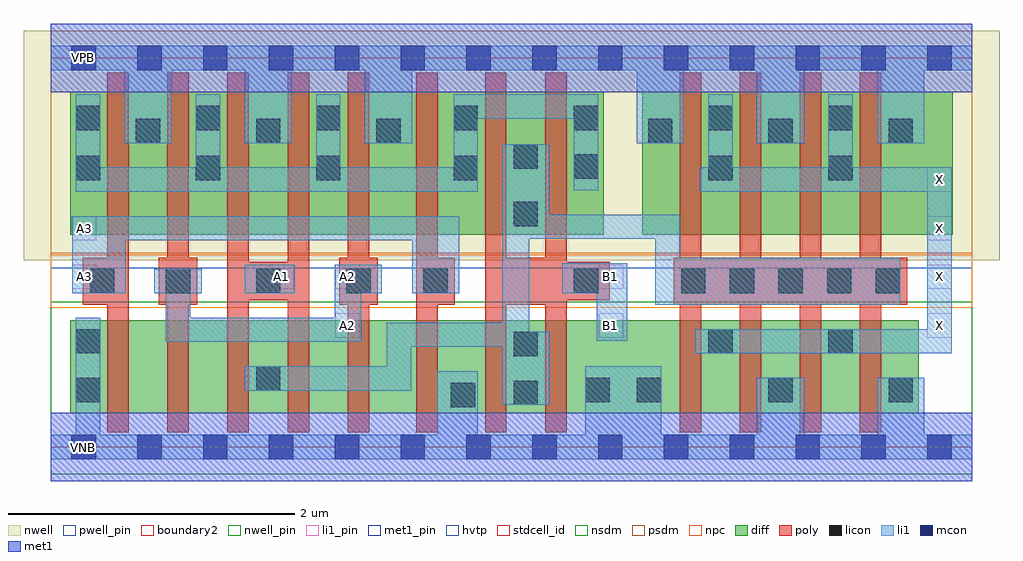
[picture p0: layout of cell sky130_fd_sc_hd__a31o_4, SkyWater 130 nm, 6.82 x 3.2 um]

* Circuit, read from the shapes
.subckt sky130_fd_sc_hd__a31o_4 A1 A2 A3 B1 VGND VNB VPB VPWR X
XM1 n1 A3 VGND VNB sky130_fd_pr__nfet_01v8 w=0.65 l=0.15
XM2 n2 A2 n1 VNB sky130_fd_pr__nfet_01v8 w=0.65 l=0.15
XM3 n3 A1 n2 VNB sky130_fd_pr__nfet_01v8 w=0.65 l=0.15
XM4 n4 A1 n3 VNB sky130_fd_pr__nfet_01v8 w=0.65 l=0.15
XM5 n5 A2 n4 VNB sky130_fd_pr__nfet_01v8 w=0.65 l=0.15
XM6 VGND A3 n5 VNB sky130_fd_pr__nfet_01v8 w=0.65 l=0.15
XM7 n3 B1 VGND VNB sky130_fd_pr__nfet_01v8 w=0.65 l=0.15 m=2
XM8 X n3 VGND VNB sky130_fd_pr__nfet_01v8 w=0.65 l=0.15 m=4
XM9 VPWR A3 n6 VPB sky130_fd_pr__pfet_01v8_hvt w=1 l=0.15 m=2
XM10 n6 A2 VPWR VPB sky130_fd_pr__pfet_01v8_hvt w=1 l=0.15 m=2
XM11 VPWR A1 n6 VPB sky130_fd_pr__pfet_01v8_hvt w=1 l=0.15 m=2
XM12 n3 B1 n6 VPB sky130_fd_pr__pfet_01v8_hvt w=1 l=0.15 m=2
XM13 X n3 VPWR VPB sky130_fd_pr__pfet_01v8_hvt w=1 l=0.15 m=4
.ends

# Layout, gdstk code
import gdstk
lib = gdstk.Library(unit=1e-6, precision=1e-09)
def R(c, l, rs):  # rectangles x0, y0, x1, y1
    for r in rs: c.add(gdstk.rectangle(r[:2], r[2:], *l))
def A(c, l, x, y, w, h, nx, ny, dx, dy):  # array of equal rectangles
    R(c, l, [(x+i*dx, y+j*dy, x+i*dx+w, y+j*dy+h) for i in range(nx) for j in range(ny)])
def P(c, l, *ps):  # polygons
    for p in ps: c.add(gdstk.Polygon(p, *l))
nwell_pin = (64, 16)
nwell = (64, 20)
diff = (65, 20)
poly = (66, 20)
licon = (66, 44)
li1_pin = (67, 16)
li1 = (67, 20)
mcon = (67, 44)
met1_pin = (68, 16)
met1 = (68, 20)
hvtp = (78, 44)
stdcell_id = (81, 4)
nsdm = (93, 44)
psdm = (94, 20)
npc = (95, 20)
pwell_pin = (122, 16)
boundary2 = (236, 0)

sky130_fd_sc_hd__a31o_4 = lib.new_cell('sky130_fd_sc_hd__a31o_4')
R(sky130_fd_sc_hd__a31o_4, nwell_pin, [(0.15,2.635,0.32,2.805)])
R(sky130_fd_sc_hd__a31o_4, nwell, [(-0.19,1.305,6.63,2.91)])
R(sky130_fd_sc_hd__a31o_4, diff, [(0.135,0.235,6.065,0.885), (0.135,1.485,3.865,2.485), (4.135,1.485,6.305,2.485)])
P(sky130_fd_sc_hd__a31o_4, poly, [(0.395,0.105),(0.395,0.995),(0.225,0.995),(0.225,1.325),(0.395,1.325),(0.395,2.615),(0.545,2.615),(0.545,0.105)],
  [(4.395,0.105),(4.395,0.995),(4.355,0.995),(4.355,1.325),(4.395,1.325),(4.395,2.615),(4.545,2.615),(4.545,1.325),(4.815,1.325),(4.815,2.615),(4.965,2.615),(4.965,1.325),(5.235,1.325),(5.235,2.615),(5.385,2.615),(5.385,1.325),(5.655,1.325),(5.655,2.615),(5.805,2.615),(5.805,1.325),(5.985,1.325),(5.985,0.995),(5.805,0.995),(5.805,0.105),(5.655,0.105),(5.655,0.995),(5.385,0.995),(5.385,0.105),(5.235,0.105),(5.235,0.995),(4.965,0.995),(4.965,0.105),(4.815,0.105),(4.815,0.995),(4.545,0.995),(4.545,0.105)],
  [(3.035,0.105),(3.035,2.615),(3.185,2.615),(3.185,1.325),(3.455,1.325),(3.455,2.615),(3.605,2.615),(3.605,1.295),(3.905,1.295),(3.905,1.025),(3.605,1.025),(3.605,0.105),(3.455,0.105),(3.455,0.995),(3.185,0.995),(3.185,0.105)],
  [(2.555,0.105),(2.555,2.615),(2.705,2.615),(2.705,1.325),(2.825,1.325),(2.825,0.995),(2.705,0.995),(2.705,0.105)],
  [(2.075,0.105),(2.075,0.995),(2.015,0.995),(2.015,1.325),(2.075,1.325),(2.075,2.615),(2.225,2.615),(2.225,1.325),(2.285,1.325),(2.285,0.995),(2.225,0.995),(2.225,0.105)],
  [(1.235,0.105),(1.235,2.615),(1.385,2.615),(1.385,1.295),(1.655,1.295),(1.655,2.615),(1.805,2.615),(1.805,0.105),(1.655,0.105),(1.655,1.025),(1.385,1.025),(1.385,0.105)],
  [(0.815,0.105),(0.815,0.995),(0.755,0.995),(0.755,1.325),(0.815,1.325),(0.815,2.615),(0.965,2.615),(0.965,1.325),(1.025,1.325),(1.025,0.995),(0.965,0.995),(0.965,0.105)])
A(sky130_fd_sc_hd__a31o_4, licon, 0.805, 1.075, 0.17, 0.17, 3, 1, 0.63, 0)
A(sky130_fd_sc_hd__a31o_4, licon, 4.405, 1.075, 0.17, 0.17, 5, 1, 0.34, 0)
A(sky130_fd_sc_hd__a31o_4, licon, 0.175, 1.865, 0.17, 0.17, 3, 2, 0.84, 0.35)
A(sky130_fd_sc_hd__a31o_4, licon, 0.595, 2.125, 0.17, 0.17, 3, 1, 0.84, 0)
A(sky130_fd_sc_hd__a31o_4, licon, 4.175, 2.125, 0.17, 0.17, 3, 1, 0.84, 0)
R(sky130_fd_sc_hd__a31o_4, licon, [(2.795,0.28,2.965,0.45), (3.235,0.295,3.405,0.465), (0.175,0.315,0.345,0.485), (3.735,0.315,3.905,0.485), (4.095,0.315,4.265,0.485), (5.015,0.315,5.185,0.485), (5.855,0.315,6.025,0.485), (1.435,0.395,1.605,0.565), (3.235,0.635,3.405,0.805), (0.175,0.655,0.345,0.825), (4.595,0.655,4.765,0.825), (5.435,0.655,5.605,0.825), (0.275,1.075,0.445,1.245), (2.605,1.075,2.775,1.245), (3.655,1.075,3.825,1.245), (3.235,1.545,3.405,1.715), (2.815,1.865,2.985,2.035), (4.595,1.865,4.765,2.035), (5.435,1.865,5.605,2.035), (3.655,1.875,3.825,2.045), (3.235,1.945,3.405,2.115), (2.815,2.215,2.985,2.385), (3.655,2.215,3.825,2.385), (4.595,2.215,4.765,2.385), (5.435,2.215,5.605,2.385)])
A(sky130_fd_sc_hd__a31o_4, li1_pin, 6.125, 0.765, 0.17, 0.17, 1, 4, 0, 0.34)
R(sky130_fd_sc_hd__a31o_4, li1_pin, [(1.99,0.765,2.16,0.935), (3.83,0.765,4,0.935), (0.15,1.105,0.32,1.275), (1.53,1.105,1.7,1.275), (1.99,1.105,2.16,1.275), (3.83,1.105,4,1.275), (0.15,1.445,0.32,1.615)])
R(sky130_fd_sc_hd__a31o_4, li1, [(1.355,1.075,1.705,1.275)])
P(sky130_fd_sc_hd__a31o_4, li1, [(0,-0.085),(0,0.085),(0.175,0.085),(0.175,0.905),(0.345,0.905),(0.345,0.085),(2.7,0.085),(2.7,0.53),(2.985,0.53),(2.985,0.085),(3.735,0.085),(3.735,0.565),(4.265,0.565),(4.265,0.085),(4.935,0.085),(4.935,0.485),(5.265,0.485),(5.265,0.085),(5.775,0.085),(5.775,0.485),(6.105,0.485),(6.105,0.085),(6.44,0.085),(6.44,-0.085)],
  [(0.515,2.125),(0.515,2.635),(0,2.635),(0,2.805),(6.44,2.805),(6.44,2.635),(6.105,2.635),(6.105,2.125),(5.775,2.125),(5.775,2.635),(5.265,2.635),(5.265,2.125),(4.935,2.125),(4.935,2.635),(4.425,2.635),(4.425,2.125),(4.095,2.125),(4.095,2.635),(2.525,2.635),(2.525,2.125),(2.195,2.125),(2.195,2.635),(1.685,2.635),(1.685,2.125),(1.355,2.125),(1.355,2.635),(0.845,2.635),(0.845,2.125)],
  [(0.805,0.735),(0.805,1.075),(0.725,1.075),(0.725,1.245),(1.055,1.245),(1.055,1.075),(0.975,1.075),(0.975,0.905),(1.985,0.905),(1.985,1.275),(2.315,1.275),(2.315,1.075),(2.17,1.075),(2.17,0.735)],
  [(4.505,0.655),(4.505,0.825),(6.125,0.825),(6.125,1.785),(4.535,1.785),(4.535,1.955),(4.595,1.955),(4.595,2.465),(4.765,2.465),(4.765,1.955),(5.435,1.955),(5.435,2.465),(5.605,2.465),(5.605,1.955),(6.295,1.955),(6.295,0.655)],
  [(3.155,0.295),(3.155,0.7),(2.52,0.7),(2.52,0.395),(1.355,0.395),(1.355,0.565),(2.35,0.565),(2.35,0.87),(3.155,0.87),(3.155,2.115),(3.485,2.115),(3.485,1.625),(4.395,1.625),(4.395,1.325),(5.935,1.325),(5.935,0.995),(4.225,0.995),(4.225,1.455),(3.345,1.455),(3.345,0.805),(3.485,0.805),(3.485,0.295)],
  [(3.815,0.745),(3.815,1.075),(3.575,1.075),(3.575,1.285),(4.03,1.285),(4.03,0.745)],
  [(0.175,1.785),(0.175,2.465),(0.345,2.465),(0.345,1.955),(1.015,1.955),(1.015,2.465),(1.185,2.465),(1.185,1.955),(1.855,1.955),(1.855,2.465),(2.025,2.465),(2.025,1.955),(2.815,1.955),(2.815,2.465),(3.825,2.465),(3.825,1.795),(3.655,1.795),(3.655,2.295),(2.985,2.295),(2.985,1.785)],
  [(0.15,1.075),(0.15,1.615),(2.855,1.615),(2.855,1.075),(2.525,1.075),(2.525,1.445),(0.525,1.445),(0.525,1.075)])
A(sky130_fd_sc_hd__a31o_4, mcon, 0.145, -0.085, 0.17, 0.17, 14, 2, 0.46, 2.72)
R(sky130_fd_sc_hd__a31o_4, met1_pin, [(0.15,-0.085,0.32,0.085), (0.15,2.635,0.32,2.805)])
R(sky130_fd_sc_hd__a31o_4, hvtp, [(0,1.25,6.44,2.72)])
R(sky130_fd_sc_hd__a31o_4, stdcell_id, [(0,0,6.44,2.72)])
R(sky130_fd_sc_hd__a31o_4, nsdm, [(0,-0.19,6.44,1.015)])
R(sky130_fd_sc_hd__a31o_4, psdm, [(0,1.355,6.44,2.91)])
R(sky130_fd_sc_hd__a31o_4, npc, [(0,0.975,6.44,1.345)])
R(sky130_fd_sc_hd__a31o_4, pwell_pin, [(0.15,-0.085,0.32,0.085)])
R(sky130_fd_sc_hd__a31o_4, boundary2, [(0,0,6.44,2.72)])
sky130_fd_sc_hd__a31o_4.add(gdstk.FlexPath([(0,2.72),(6.44,2.72)], 0.48, ends="flush", simple_path=True, layer=68, datatype=20))  # met1
sky130_fd_sc_hd__a31o_4.add(gdstk.FlexPath([(0,0),(6.44,0)], 0.48, ends="flush", simple_path=True, layer=68, datatype=20))  # met1
sky130_fd_sc_hd__a31o_4.add(gdstk.Label('B1', (3.915,0.85), layer=67, texttype=5))
sky130_fd_sc_hd__a31o_4.add(gdstk.Label('A2', (2.075,0.85), layer=67, texttype=5))
sky130_fd_sc_hd__a31o_4.add(gdstk.Label('A3', (0.235,1.53), layer=67, texttype=5))
sky130_fd_sc_hd__a31o_4.add(gdstk.Label('A1', (1.615,1.19), layer=67, texttype=5))
sky130_fd_sc_hd__a31o_4.add(gdstk.Label('A3', (0.235,1.19), layer=67, texttype=5))
sky130_fd_sc_hd__a31o_4.add(gdstk.Label('B1', (3.915,1.19), layer=67, texttype=5))
sky130_fd_sc_hd__a31o_4.add(gdstk.Label('X', (6.21,1.19), layer=67, texttype=5))
sky130_fd_sc_hd__a31o_4.add(gdstk.Label('X', (6.21,0.85), layer=67, texttype=5))
sky130_fd_sc_hd__a31o_4.add(gdstk.Label('X', (6.21,1.87), layer=67, texttype=5))
sky130_fd_sc_hd__a31o_4.add(gdstk.Label('A2', (2.075,1.19), layer=67, texttype=5))
sky130_fd_sc_hd__a31o_4.add(gdstk.Label('X', (6.21,1.53), layer=67, texttype=5))
sky130_fd_sc_hd__a31o_4.add(gdstk.Label('VNB', (0.23,0), layer=64, texttype=59))
sky130_fd_sc_hd__a31o_4.add(gdstk.Label('VPB', (0.23,2.72), layer=64, texttype=5))
sky130_fd_sc_hd__a31o_4.add(gdstk.Label('VGND', (0.23,0), layer=68, texttype=5))
sky130_fd_sc_hd__a31o_4.add(gdstk.Label('VPWR', (0.23,2.72), layer=68, texttype=5))
sky130_fd_sc_hd__a31o_4.add(gdstk.Label('a31o_4', (0,0), layer=83, texttype=44))

lib.write_gds('sky130_fd_sc_hd__a31o_4.gds')
